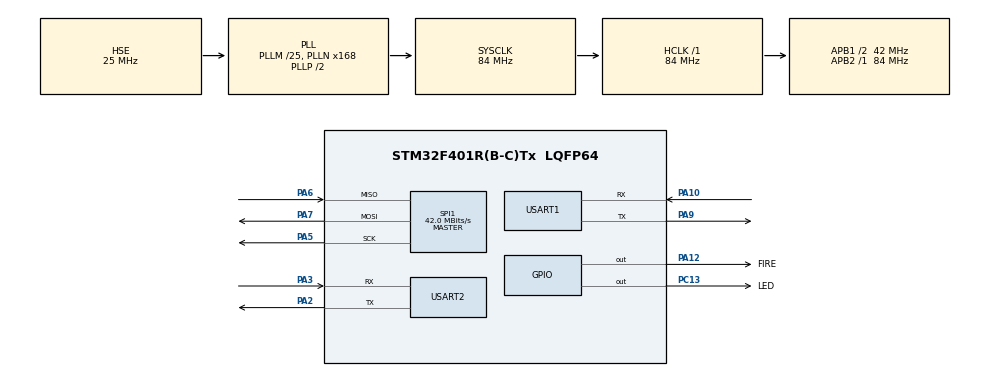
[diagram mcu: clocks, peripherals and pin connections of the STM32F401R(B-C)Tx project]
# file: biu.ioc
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Mcu.Family=STM32F4
Mcu.Name=STM32F401R(B-C)Tx
Mcu.Package=LQFP64
NVIC.PriorityGroup=NVIC_PRIORITYGROUP_4
PA10.Mode=Asynchronous
PA10.Signal=USART1_RX
PA12.GPIO_Label=FIRE
PA12.Signal=GPIO_Output
PA2.Mode=Asynchronous
PA2.Signal=USART2_TX
PA3.Mode=Asynchronous
PA3.Signal=USART2_RX
PA5.Mode=Full_Duplex_Master
PA5.Signal=SPI1_SCK
PA6.Mode=Full_Duplex_Master
PA6.Signal=SPI1_MISO
PA7.Mode=Full_Duplex_Master
PA7.Signal=SPI1_MOSI
PA9.Mode=Asynchronous
PA9.Signal=USART1_TX
PC13-ANTI_TAMP.GPIO_Label=LED
PC13-ANTI_TAMP.Signal=GPIO_Output
PH0\ -\ OSC_IN.Mode=HSE-External-Oscillator
PH0\ -\ OSC_IN.Signal=RCC_OSC_IN
PH1\ -\ OSC_OUT.Mode=HSE-External-Oscillator
PH1\ -\ OSC_OUT.Signal=RCC_OSC_OUT
ProjectManager.HeapSize=0x200
ProjectManager.StackSize=0x400
ProjectManager.TargetToolchain=CMake
RCC.48MHZClocksFreq_Value=42000000
RCC.AHBFreq_Value=84000000
RCC.APB1CLKDivider=RCC_HCLK_DIV2
RCC.APB1Freq_Value=42000000
RCC.APB1TimFreq_Value=84000000
RCC.APB2Freq_Value=84000000
RCC.APB2TimFreq_Value=84000000
RCC.CortexFreq_Value=84000000
RCC.HCLKFreq_Value=84000000
RCC.HSE_VALUE=25000000
RCC.HSI_VALUE=16000000
RCC.LSE_VALUE=32768
RCC.PLLM=25
RCC.PLLN=168
RCC.PLLSourceVirtual=RCC_PLLSOURCE_HSE
RCC.SYSCLKFreq_VALUE=84000000
RCC.SYSCLKSource=RCC_SYSCLKSOURCE_PLLCLK
RCC.VCOOutputFreq_Value=168000000
SPI1.CalculateBaudRate=42.0 MBits/s
SPI1.Direction=SPI_DIRECTION_2LINES
SPI1.Mode=SPI_MODE_MASTER
SPI1.VirtualType=VM_MASTER
USART1.VirtualMode=VM_ASYNC
USART2.VirtualMode=VM_ASYNC
board=custom

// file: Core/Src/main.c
/* USER CODE BEGIN Header */
/**
  ******************************************************************************
  * @file           : main.c
  * @brief          : Main program body
  ******************************************************************************
  * @attention
  *
  * Copyright (c) 2026 STMicroelectronics.
  * All rights reserved.
  *
  * This software is licensed under terms that can be found in the LICENSE file
  * in the root directory of this software component.
  * If no LICENSE file comes with this software, it is provided AS-IS.
  *
  ******************************************************************************
  */
/* USER CODE END Header */
#include "main.h"
#include "spi.h"
#include "usart.h"
#include "gpio.h"

/* USER CODE BEGIN Includes */
#include <string.h>

/* ---- 开火链路协议（与 Jetson 侧 fire_link.hpp 逐字节一致）---- */
#define FIRE_CMD_HEAD0   0xA5u
#define FIRE_CMD_HEAD1   0x5Au
#define FIRE_FB_HEAD0    0x5Au
#define FIRE_FB_HEAD1    0xA5u
#define FIRE_FB_TYPE     0x81u
#define FIRE_FB_TAIL     0x0Du
#define FIRE_CMD_WORD    0x10u   /* 开火命令字 */
#define FIRE_CMD_LEN     6u      /* A5 5A 10 seq flags crc8 */
#define FIRE_FB_LEN      7u      /* 5A A5 81 seq state crc8 0D */

#define FIRE_FLAG_ON     0x01u   /* 命令 flags bit0：请求开火 */

#define FIRE_ST_FIRE_ON  0x01u   /* 反馈 state bit0：PA12 当前高 */
#define FIRE_ST_TIMEOUT  0x02u   /* 反馈 state bit1：链路看门狗已触发 */
#define FIRE_ST_OVERTIME 0x04u   /* 反馈 state bit2：连续导通保护已触发（锁存） */

/* ---- 安全参数 ---- */
#define FIRE_LINK_TIMEOUT_MS   100u    /* 100 ms 收不到合法命令 -> 强制停火 */
#define FIRE_FB_PERIOD_MS      20u     /* 50 Hz 回状态帧 */
#define FIRE_MAX_ON_MS         5000u   /* 连续导通上限 5 s，超时强制关断，松手解锁 */
#define FIRE_DEBUG_LOG         1       /* USART2 打印事件日志（与开火数据同一口，帧解析会自动跳过 ASCII） */
/* USER CODE END Includes */

/* USER CODE BEGIN PTD */
typedef struct {
    volatile uint8_t rx_byte;        /* HAL_UART_Receive_IT 的单字节落点 */
    uint8_t  parse_buf[FIRE_CMD_LEN];
    uint8_t  parse_state;            /* 0=等 A5, 1=等 5A, 2..5=数据, 6=CRC 待判 */
    uint32_t last_rx_ms;             /* 最近一条合法命令的时刻 */
    uint32_t rx_frames, bad_frames;
    uint8_t  last_seq;               /* 回显给 Jetson */
    uint8_t  fire_req;               /* 命令请求（MOS 应导通） */
    uint8_t  fire_on;                /* PA12 实际状态 */
    uint8_t  overtime;               /* 连续导通保护锁存 */
    uint32_t on_since_ms;
    uint32_t fb_seq;
    uint32_t last_fb_ms;
} fire_ctx_t;
/* USER CODE END PTD */

/* USER CODE BEGIN PD */
/* 开火链路宏定义见上方 USER CODE BEGIN Includes（typedef 在其后要用） */
/* USER CODE END PD */

/* USER CODE BEGIN PV */
static fire_ctx_t g_fire;
/* USER CODE END PV */

void SystemClock_Config(void);
/* USER CODE BEGIN PFP */
static uint8_t fire_crc8(const uint8_t *data, uint32_t len);
static void    fire_rx_byte(uint8_t b);
static void    fire_apply_cmd(uint8_t seq, uint8_t flags);
static void    fire_apply_output(uint32_t now_ms);
static void    fire_send_feedback(uint32_t now_ms);
static void    dbg_print(const char *s);
/* USER CODE END PFP */

/* USER CODE BEGIN 0 */

/* CRC-8/ATM（poly 0x07, init 0），与 Jetson 侧 fire_link.hpp 一致 */
static uint8_t fire_crc8(const uint8_t *data, uint32_t len)
{
  uint8_t crc = 0x00;
  while (len-- > 0)
  {
    crc ^= *data++;
    for (int i = 0; i < 8; ++i)
      crc = (crc & 0x80u) ? (uint8_t)((crc << 1) ^ 0x07u) : (uint8_t)(crc << 1);
  }
  return crc;
}

/* 逐字节状态机，由 USART2 接收中断喂入 */
static void fire_rx_byte(uint8_t b)
{
  switch (g_fire.parse_state)
  {
    case 0:
      if (b == FIRE_CMD_HEAD0) { g_fire.parse_buf[0] = b; g_fire.parse_state = 1; }
      break;
    case 1:
      if (b == FIRE_CMD_HEAD1)      { g_fire.parse_buf[1] = b; g_fire.parse_state = 2; }
      else if (b != FIRE_CMD_HEAD0) { g_fire.parse_state = 0; }
      break;
    default:
      g_fire.parse_buf[g_fire.parse_state] = b;
      ++g_fire.parse_state;
      if (g_fire.parse_state >= FIRE_CMD_LEN)
      {
        if (g_fire.parse_buf[2] == FIRE_CMD_WORD &&
            fire_crc8(g_fire.parse_buf, FIRE_CMD_LEN - 1) ==
                g_fire.parse_buf[FIRE_CMD_LEN - 1])
          fire_apply_cmd(g_fire.parse_buf[3], g_fire.parse_buf[4]);
        else
          ++g_fire.bad_frames;
        /* 重同步：当前字节若又是帧头，下一帧从它开始 */
        g_fire.parse_state = (b == FIRE_CMD_HEAD0) ? 1 : 0;
      }
      break;
  }
}

/* 合法命令帧：刷新看门狗 + 记录扳机请求 */
static void fire_apply_cmd(uint8_t seq, uint8_t flags)
{
  g_fire.last_rx_ms = HAL_GetTick();
  g_fire.last_seq   = seq;
  ++g_fire.rx_frames;
  g_fire.fire_req   = (flags & FIRE_FLAG_ON) ? 1u : 0u;
}

/* 扳机 -> PA12（低电平开火，高电平关火），带连续导通保护 */
static void fire_apply_output(uint32_t now_ms)
{
  if (!g_fire.fire_req)
  {
    g_fire.overtime = 0;                 /* 松扳机解除锁存 */
    if (g_fire.fire_on)
    {
      g_fire.fire_on = 0;
      HAL_GPIO_WritePin(FIRE_GPIO_Port, FIRE_Pin, GPIO_PIN_SET);
      dbg_print("[biu] FIRE OFF\r\n");
    }
    return;
  }

  if (g_fire.overtime) return;           /* 保护锁存中：等松扳机 */

  if (!g_fire.fire_on)
  {
    g_fire.fire_on     = 1;
    g_fire.on_since_ms = now_ms;
    HAL_GPIO_WritePin(FIRE_GPIO_Port, FIRE_Pin, GPIO_PIN_RESET);
    dbg_print("[biu] FIRE ON\r\n");
    return;
  }

  if ((now_ms - g_fire.on_since_ms) > FIRE_MAX_ON_MS)
  {
    g_fire.overtime = 1;
    g_fire.fire_on  = 0;
    HAL_GPIO_WritePin(FIRE_GPIO_Port, FIRE_Pin, GPIO_PIN_SET);
    dbg_print("[biu] OVERTIME -> fire OFF (release trigger to reset)\r\n");
  }
}

/* 状态帧（50 Hz）：回真实 PA12 电平与保护状态 */
static void fire_send_feedback(uint32_t now_ms)
{
  uint8_t f[FIRE_FB_LEN];
  uint8_t state = 0;

  if ((now_ms - g_fire.last_fb_ms) < FIRE_FB_PERIOD_MS) return;
  g_fire.last_fb_ms = now_ms;

  if (g_fire.fire_on)                                      state |= FIRE_ST_FIRE_ON;
  if ((now_ms - g_fire.last_rx_ms) > FIRE_LINK_TIMEOUT_MS) state |= FIRE_ST_TIMEOUT;
  if (g_fire.overtime)                                     state |= FIRE_ST_OVERTIME;

  f[0] = FIRE_FB_HEAD0;
  f[1] = FIRE_FB_HEAD1;
  f[2] = FIRE_FB_TYPE;
  f[3] = g_fire.last_seq;
  f[4] = state;
  f[5] = fire_crc8(f, FIRE_FB_LEN - 2);
  f[6] = FIRE_FB_TAIL;
  (void)HAL_UART_Transmit(&huart2, f, FIRE_FB_LEN, 10);
}

/* USART2(DAP-LINK) 事件日志：只在状态变化时打，避免阻塞刷屏 */
static void dbg_print(const char *s)
{
#if FIRE_DEBUG_LOG
  (void)HAL_UART_Transmit(&huart2, (uint8_t *)s, (uint16_t)strlen(s), 20);
#else
  (void)s;
#endif
}

/* UART2 接收中断回调：喂解析器并重新挂上 */
void HAL_UART_RxCpltCallback(UART_HandleTypeDef *huart)
{
  if (huart->Instance == USART2)
  {
    fire_rx_byte(g_fire.rx_byte);
    (void)HAL_UART_Receive_IT(&huart2, (uint8_t *)&g_fire.rx_byte, 1);
  }
}

/* 噪声/溢出等错误会让 HAL 停掉接收，这里重新挂上，避免永久失联 */
void HAL_UART_ErrorCallback(UART_HandleTypeDef *huart)
{
  if (huart->Instance == USART2)
  {
    __HAL_UART_CLEAR_OREFLAG(&huart2);
    (void)HAL_UART_Receive_IT(&huart2, (uint8_t *)&g_fire.rx_byte, 1);
  }
}

/* USER CODE END 0 */

int main(void)
{

  /* MCU Configuration--------------------------------------------------------*/

  /* Reset of all peripherals, Initializes the Flash interface and the Systick. */
  HAL_Init();

  /* Configure the system clock */
  SystemClock_Config();

  /* Initialize all configured peripherals */
  MX_GPIO_Init();
  MX_SPI1_Init();
  MX_USART1_UART_Init();
  MX_USART2_UART_Init();
  /* USER CODE BEGIN 2 */
  /* ---- 开火链路初始化：PA12 先拉高(关火，低电平有效)，UART2 开中断接收 ---- */
  memset(&g_fire, 0, sizeof(g_fire));
  g_fire.last_rx_ms = HAL_GetTick();
  g_fire.last_fb_ms = HAL_GetTick() - FIRE_FB_PERIOD_MS;
  HAL_GPIO_WritePin(FIRE_GPIO_Port, FIRE_Pin, GPIO_PIN_SET);
  HAL_UART_Receive_IT(&huart2, (uint8_t *)&g_fire.rx_byte, 1);
  dbg_print("[biu] ready: UART2 115200 8N1, PA12=FIRE, FB 50Hz\r\n");
  /* USER CODE END 2 */

  /* Infinite loop */
  /* USER CODE BEGIN WHILE */
  while (1)
  {
    const uint32_t now = HAL_GetTick();

    /* 1. 链路看门狗：100 ms 没有合法命令 -> 强制停火（最硬的一道保险） */
    if (g_fire.fire_req && (now - g_fire.last_rx_ms) > FIRE_LINK_TIMEOUT_MS)
    {
      g_fire.fire_req = 0;
      dbg_print("[biu] LINK TIMEOUT -> fire OFF\r\n");
    }

    /* 2. 输出到 MOS（带连续导通保护） */
    fire_apply_output(now);

    /* 3. 50 Hz 回状态帧 */
    fire_send_feedback(now);

    /* 4. LED：链路正常 1 Hz 慢闪，链路丢失 5 Hz 快闪 */
    {
      static uint32_t last_led_ms = 0;
      static uint8_t  link_prev  = 0xFF;
      const uint8_t   link_ok    = ((now - g_fire.last_rx_ms) <= FIRE_LINK_TIMEOUT_MS);
      const uint32_t  period     = link_ok ? 500u : 100u;
      if (link_ok != link_prev)
      {
        link_prev = link_ok;
        dbg_print(link_ok ? "[biu] LINK OK\r\n" : "[biu] LINK LOST\r\n");
      }
      if (now - last_led_ms >= period)
      {
        last_led_ms = now;
        HAL_GPIO_TogglePin(LED_GPIO_Port, LED_Pin);
      }
    }
    /* USER CODE END WHILE */

    /* USER CODE BEGIN 3 */
    HAL_Delay(1);   /* 主循环 1 kHz 轮询足够；接收走中断不受影响 */
  }
  /* USER CODE END 3 */
}

void SystemClock_Config(void)
{
  RCC_OscInitTypeDef RCC_OscInitStruct = {0};
  RCC_ClkInitTypeDef RCC_ClkInitStruct = {0};

  /** Configure the main internal regulator output voltage
  */
  __HAL_RCC_PWR_CLK_ENABLE();
  __HAL_PWR_VOLTAGESCALING_CONFIG(PWR_REGULATOR_VOLTAGE_SCALE2);

  /** Initializes the RCC Oscillators according to the specified parameters
  * in the RCC_OscInitTypeDef structure.
  */
  RCC_OscInitStruct.OscillatorType = RCC_OSCILLATORTYPE_HSE;
  RCC_OscInitStruct.HSEState = RCC_HSE_ON;
  RCC_OscInitStruct.PLL.PLLState = RCC_PLL_ON;
  RCC_OscInitStruct.PLL.PLLSource = RCC_PLLSOURCE_HSE;
  RCC_OscInitStruct.PLL.PLLM = 25;
  RCC_OscInitStruct.PLL.PLLN = 168;
  RCC_OscInitStruct.PLL.PLLP = RCC_PLLP_DIV2;
  RCC_OscInitStruct.PLL.PLLQ = 4;
  if (HAL_RCC_OscConfig(&RCC_OscInitStruct) != HAL_OK)
  {
    Error_Handler();
  }

  /** Initializes the CPU, AHB and APB buses clocks
  */
  RCC_ClkInitStruct.ClockType = RCC_CLOCKTYPE_HCLK|RCC_CLOCKTYPE_SYSCLK
                              |RCC_CLOCKTYPE_PCLK1|RCC_CLOCKTYPE_PCLK2;
  RCC_ClkInitStruct.SYSCLKSource = RCC_SYSCLKSOURCE_PLLCLK;
  RCC_ClkInitStruct.AHBCLKDivider = RCC_SYSCLK_DIV1;
  RCC_ClkInitStruct.APB1CLKDivider = RCC_HCLK_DIV2;
  RCC_ClkInitStruct.APB2CLKDivider = RCC_HCLK_DIV1;

  if (HAL_RCC_ClockConfig(&RCC_ClkInitStruct, FLASH_LATENCY_2) != HAL_OK)
  {
    Error_Handler();
  }
}

void Error_Handler(void)
{
  __disable_irq();
  while (1)
  {
  }
}
